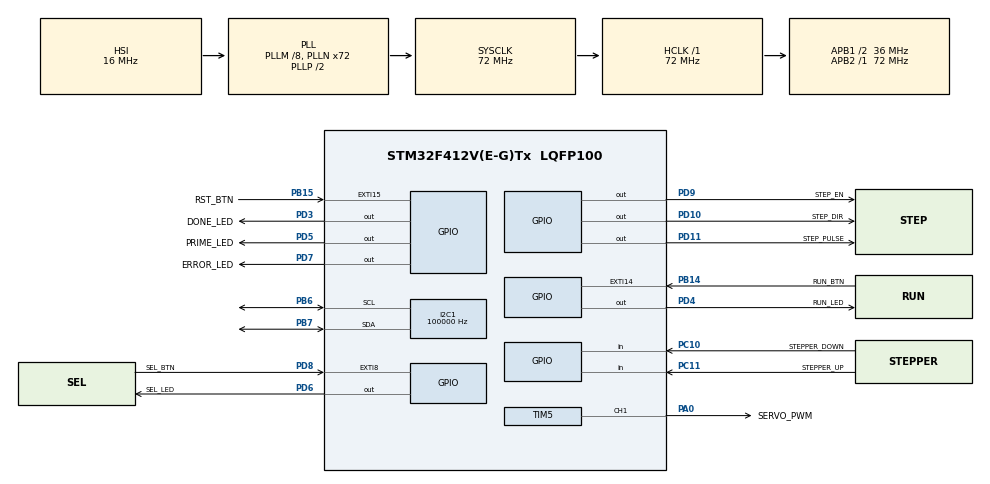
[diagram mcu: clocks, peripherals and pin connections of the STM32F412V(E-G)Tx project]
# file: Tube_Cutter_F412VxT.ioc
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I2C1.ClockSpeed=100000
I2C1.I2C_Mode=I2C_Standard
Mcu.Family=STM32F4
Mcu.Name=STM32F412V(E-G)Tx
Mcu.Package=LQFP100
NVIC.EXTI15_10_IRQn=true\:1\:0\:true\:false\:true\:true\:true\:true
NVIC.EXTI9_5_IRQn=true\:0\:0\:false\:false\:true\:true\:true\:true
NVIC.PriorityGroup=NVIC_PRIORITYGROUP_4
NVIC.TIM2_IRQn=true\:0\:0\:false\:false\:true\:true\:true\:true
NVIC.TIM3_IRQn=true\:0\:0\:false\:false\:true\:true\:true\:true
NVIC.TIM4_IRQn=true\:0\:0\:false\:false\:true\:true\:true\:true
NVIC.TIM7_IRQn=true\:0\:0\:false\:false\:true\:true\:true\:true
PA0.GPIO_Label=SERVO_PWM
PA0.Signal=S_TIM5_CH1
PA13.Mode=Serial_Wire
PA13.Signal=SYS_JTMS-SWDIO
PA14.Mode=Serial_Wire
PA14.Signal=SYS_JTCK-SWCLK
PB14.GPIO_Label=RUN_BTN
PB14.GPIO_ModeDefaultEXTI=GPIO_MODE_IT_RISING_FALLING
PB14.Signal=GPXTI14
PB15.GPIO_Label=RST_BTN
PB15.GPIO_ModeDefaultEXTI=GPIO_MODE_IT_RISING_FALLING
PB15.Signal=GPXTI15
PB6.GPIO_Pu=GPIO_PULLUP
PB6.Mode=I2C
PB6.Signal=I2C1_SCL
PB7.GPIO_Pu=GPIO_PULLUP
PB7.Mode=I2C
PB7.Signal=I2C1_SDA
PC10.GPIO_Label=STEPPER_DOWN
PC10.Signal=GPIO_Input
PC11.GPIO_Label=STEPPER_UP
PC11.Signal=GPIO_Input
PD10.GPIO_Label=STEP_DIR
PD10.Signal=GPIO_Output
PD11.GPIO_Label=STEP_PULSE
PD11.Signal=GPIO_Output
PD3.GPIO_Label=DONE_LED
PD3.Signal=GPIO_Output
PD4.GPIO_Label=RUN_LED
PD4.Signal=GPIO_Output
PD5.GPIO_Label=PRIME_LED
PD5.Signal=GPIO_Output
PD6.GPIO_Label=SEL_LED
PD6.GPIO_ModeDefaultOutputPP=GPIO_MODE_OUTPUT_PP
PD6.GPIO_PuPd=GPIO_NOPULL
PD6.Signal=GPIO_Output
PD7.GPIO_Label=ERROR_LED
PD7.GPIO_ModeDefaultOutputPP=GPIO_MODE_OUTPUT_PP
PD7.GPIO_PuPd=GPIO_NOPULL
PD7.Signal=GPIO_Output
PD8.GPIO_Label=SEL_BTN
PD8.GPIO_ModeDefaultEXTI=GPIO_MODE_IT_RISING_FALLING
PD8.GPIO_PuPd=GPIO_PULLUP
PD8.Signal=GPXTI8
PD9.GPIO_Label=STEP_EN
PD9.Signal=GPIO_Output
PH0\ -\ OSC_IN.Mode=HSE-External-Oscillator
PH0\ -\ OSC_IN.Signal=RCC_OSC_IN
PH1\ -\ OSC_OUT.Mode=HSE-External-Oscillator
PH1\ -\ OSC_OUT.Signal=RCC_OSC_OUT
ProjectManager.HeapSize=0x200
ProjectManager.StackSize=0x400
ProjectManager.TargetToolchain=STM32CubeIDE
RCC.AHBFreq_Value=72000000
RCC.APB1CLKDivider=RCC_HCLK_DIV2
RCC.APB1Freq_Value=36000000
RCC.APB1TimFreq_Value=72000000
RCC.APB2Freq_Value=72000000
RCC.APB2TimFreq_Value=72000000
RCC.CortexFreq_Value=72000000
RCC.HCLKFreq_Value=72000000
RCC.HSE_VALUE=8000000
RCC.PLLM=8
RCC.PLLN=72
RCC.SYSCLKFreq_VALUE=72000000
RCC.SYSCLKSource=RCC_SYSCLKSOURCE_PLLCLK
RCC.USBFreq_Value=72000000
RCC.VCOOutputFreq_Value=144000000
SH.S_TIM5_CH1.0=TIM5_CH1,PWM Generation1 CH1
TIM2.Period=4500-1
TIM2.Prescaler=15360-1
TIM3.Period=500-1
TIM3.Prescaler=7200-1
TIM4.Period=200-1
TIM4.Prescaler=360-1
TIM5.Channel-PWM\ Generation1\ CH1=TIM_CHANNEL_1
TIM5.Period=45000-1
TIM5.Prescaler=32-1
TIM7.Period=1000
TIM7.Prescaler=7200
VP_TIM2_VS_ClockSourceINT.Mode=Internal
VP_TIM3_VS_ClockSourceINT.Mode=Internal
VP_TIM4_VS_ClockSourceINT.Mode=Internal
VP_TIM7_VS_ClockSourceINT.Mode=Enable_Timer
board=custom

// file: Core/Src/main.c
/* USER CODE BEGIN Header */
/**
  ******************************************************************************
  * @file           : main.c
  * @brief          : Main program body
  ******************************************************************************
  * @attention
  *
  * Copyright (c) 2024 STMicroelectronics.
  * All rights reserved.
  *
  * This software is licensed under terms that can be found in the LICENSE file
  * in the root directory of this software component.
  * If no LICENSE file comes with this software, it is provided AS-IS.
  *
  ******************************************************************************
  */
/* USER CODE END Header */
#include "main.h"
#include "i2c.h"
#include "tim.h"
#include "gpio.h"

/* USER CODE BEGIN Includes */
#include "cutter.h"
#include "buttons.h"
#include "cut_code.h"
#include "adafruit_alphanum4.h"
/* USER CODE END Includes */

/* USER CODE BEGIN PV */
struct PCNC_Setup *cutter;
uint32_t cur_code;
Adafruit_AlphaNum4 *disp;
/* USER CODE END PV */

void SystemClock_Config(void);

/* USER CODE BEGIN 0 */
HAL_StatusTypeDef disp_code() {
  Adafruit_AlphaNum4_load_text(disp, codes[cur_code].name);
  return Adafruit_AlphaNum4_write_display(disp);
}
/* USER CODE END 0 */

int main(void)
{

  /* MCU Configuration--------------------------------------------------------*/

  /* Reset of all peripherals, Initializes the Flash interface and the Systick. */
  HAL_Init();

  /* Configure the system clock */
  SystemClock_Config();

  /* Initialize all configured peripherals */
  MX_GPIO_Init();
  MX_TIM5_Init();
  MX_TIM2_Init();
  MX_TIM3_Init();
  MX_TIM4_Init();
  MX_TIM7_Init();
  MX_I2C1_Init();
  /* USER CODE BEGIN 2 */

  HAL_GPIO_WritePin(SEL_LED_GPIO_Port, SEL_LED_Pin, GPIO_PIN_SET);

  disp = Adafruit_AlphaNum4_Init(ALPHANUM4_DEFAULT_ADDR, &hi2c1);

  if (disp == NULL) {
      Error_Handler();
  }

  cur_code = 0;
  disp_code();

  /* USER CODE END 2 */

  /* Infinite loop */
  while (1)
  {

  }
}

void SystemClock_Config(void)
{
  RCC_OscInitTypeDef RCC_OscInitStruct = {0};
  RCC_ClkInitTypeDef RCC_ClkInitStruct = {0};

  /** Configure the main internal regulator output voltage
  */
  __HAL_RCC_PWR_CLK_ENABLE();
  __HAL_PWR_VOLTAGESCALING_CONFIG(PWR_REGULATOR_VOLTAGE_SCALE1);

  /** Initializes the RCC Oscillators according to the specified parameters
  * in the RCC_OscInitTypeDef structure.
  */
  RCC_OscInitStruct.OscillatorType = RCC_OSCILLATORTYPE_HSI;
  RCC_OscInitStruct.HSIState = RCC_HSI_ON;
  RCC_OscInitStruct.HSICalibrationValue = RCC_HSICALIBRATION_DEFAULT;
  RCC_OscInitStruct.PLL.PLLState = RCC_PLL_ON;
  RCC_OscInitStruct.PLL.PLLSource = RCC_PLLSOURCE_HSI;
  RCC_OscInitStruct.PLL.PLLM = 8;
  RCC_OscInitStruct.PLL.PLLN = 72;
  RCC_OscInitStruct.PLL.PLLP = RCC_PLLP_DIV2;
  RCC_OscInitStruct.PLL.PLLQ = 2;
  RCC_OscInitStruct.PLL.PLLR = 2;
  if (HAL_RCC_OscConfig(&RCC_OscInitStruct) != HAL_OK)
  {
    Error_Handler();
  }

  /** Initializes the CPU, AHB and APB buses clocks
  */
  RCC_ClkInitStruct.ClockType = RCC_CLOCKTYPE_HCLK|RCC_CLOCKTYPE_SYSCLK
                              |RCC_CLOCKTYPE_PCLK1|RCC_CLOCKTYPE_PCLK2;
  RCC_ClkInitStruct.SYSCLKSource = RCC_SYSCLKSOURCE_PLLCLK;
  RCC_ClkInitStruct.AHBCLKDivider = RCC_SYSCLK_DIV1;
  RCC_ClkInitStruct.APB1CLKDivider = RCC_HCLK_DIV2;
  RCC_ClkInitStruct.APB2CLKDivider = RCC_HCLK_DIV1;

  if (HAL_RCC_ClockConfig(&RCC_ClkInitStruct, FLASH_LATENCY_2) != HAL_OK)
  {
    Error_Handler();
  }
}

/* USER CODE BEGIN 4 */
void HAL_TIM_PeriodElapsedCallback(TIM_HandleTypeDef *htim)
{
  if (htim == &htim2) {
	  PCNC_Servo_Unlock(cutter);
  }
  else if (htim == &htim4 )
  {
	  PCNC_Stepper_ISR(cutter);
  }
  else if (htim == &htim3) {
	  Debounce_Buttons();
  }
  else if (htim == &htim7) {
	  HAL_GPIO_TogglePin(RUN_LED_GPIO_Port, RUN_LED_Pin);
  }
}
/* USER CODE END 4 */

void Error_Handler(void)
{
  /* USER CODE BEGIN Error_Handler_Debug */
  /* User can add his own implementation to report the HAL error return state */
  __disable_irq();
  HAL_GPIO_WritePin(ERROR_LED_GPIO_Port, ERROR_LED_Pin, GPIO_PIN_SET);
  while (1)
  {
      if (HAL_GPIO_ReadPin(RST_BTN_GPIO_Port, RST_BTN_Pin) == GPIO_PIN_RESET) {
          NVIC_SystemReset();
      }
  }
  /* USER CODE END Error_Handler_Debug */
}
